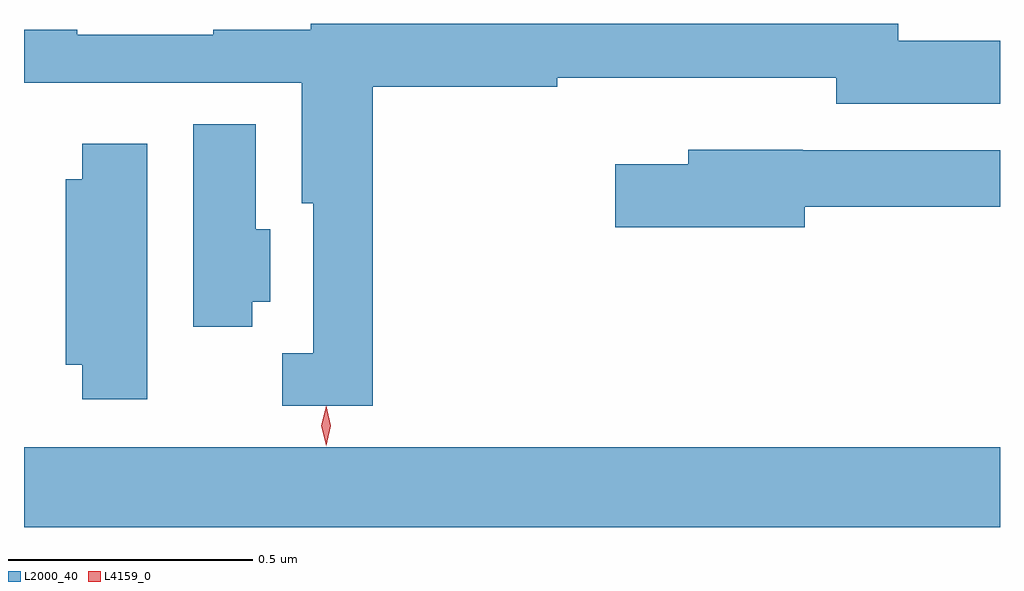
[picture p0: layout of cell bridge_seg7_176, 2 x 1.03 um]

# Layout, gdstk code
import gdstk
lib = gdstk.Library(unit=1e-6, precision=1e-09)
def R(c, l, rs):  # rectangles x0, y0, x1, y1
    for r in rs: c.add(gdstk.rectangle(r[:2], r[2:], *l))
def P(c, l, *ps):  # polygons
    for p in ps: c.add(gdstk.Polygon(p, *l))
L2000_40 = (2000, 40)
L4159_0 = (4159, 0)

bridge_seg7_176 = lib.new_cell('bridge_seg7_176')
R(bridge_seg7_176, L2000_40, [(454.722,1072.544,456.722,1072.708)])
P(bridge_seg7_176, L2000_40, [(455.437,1073.446),(455.815,1073.446),(455.815,1073.465),(456.386,1073.465),(456.386,1073.411),(456.722,1073.411),(456.722,1073.541),(456.514,1073.541),(456.514,1073.575),(455.31,1073.575),(455.31,1073.563),(455.11,1073.563),(455.11,1073.553),(454.831,1073.553),(454.831,1073.563),(454.722,1073.563),(454.722,1073.454),(455.291,1073.454),(455.291,1073.208),(455.315,1073.208),(455.315,1072.9),(455.251,1072.9),(455.251,1072.793),(455.437,1072.793)],
  [(455.19,1073.006),(455.227,1073.006),(455.227,1073.154),(455.197,1073.154),(455.197,1073.369),(455.069,1073.369),(455.069,1072.954),(455.19,1072.954)],
  [(454.975,1073.329),(454.841,1073.329),(454.841,1073.257),(454.808,1073.257),(454.808,1072.877),(454.841,1072.877),(454.841,1072.806),(454.975,1072.806)],
  [(456.322,1073.2),(456.722,1073.2),(456.722,1073.316),(456.318,1073.316),(456.318,1073.317),(456.083,1073.317),(456.083,1073.287),(455.934,1073.287),(455.934,1073.158),(456.322,1073.158)])
P(bridge_seg7_176, L4159_0, [(455.341,1072.711),(455.341,1072.711),(455.331,1072.752),(455.341,1072.793),(455.341,1072.793),(455.341,1072.793),(455.351,1072.752),(455.341,1072.711)])

lib.write_gds('bridge_seg7_176.gds')
